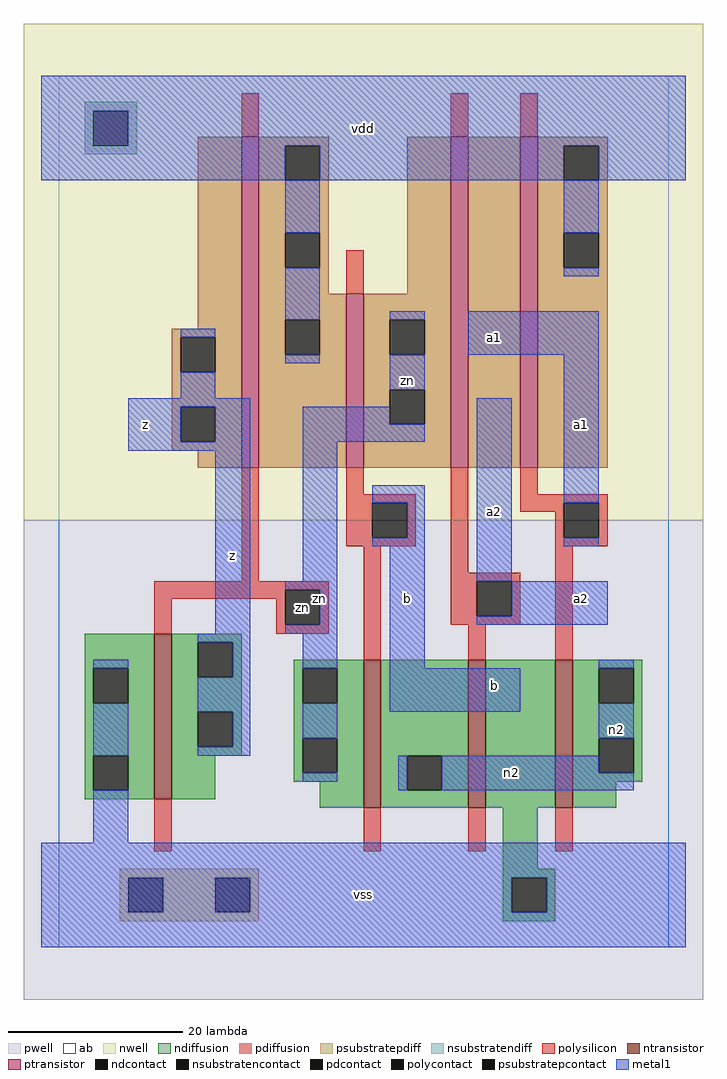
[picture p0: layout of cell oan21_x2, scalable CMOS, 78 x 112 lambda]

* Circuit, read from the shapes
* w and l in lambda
.subckt oan21_x2 a1 a2 b n2 vdd vss z zn
M1 z zn vss vss nfet w=19 l=2
M2 n2 b zn vss nfet w=17 l=2
M3 vss a2 n2 vss nfet w=17 l=2
M4 n2 a1 vss vss nfet w=17 l=2
M5 vdd zn z vdd pfet w=38 l=2
M6 zn b vdd vdd pfet w=20 l=2
M7 n1 a2 zn vdd pfet w=38 l=2
M8 vdd a1 n1 vdd pfet w=38 l=2
.ends

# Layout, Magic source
magic
tech scmos
<< ab >>
rect 0 0 70 100
<< pwell >>
rect -4 -6 74 49
<< nwell >>
rect -4 49 74 106
<< polysilicon >>
rect 21 93 23 98
rect 45 93 47 98
rect 53 93 55 98
rect 33 75 35 80
rect 21 42 23 55
rect 33 52 35 55
rect 33 51 41 52
rect 33 47 36 51
rect 40 47 41 51
rect 33 46 41 47
rect 11 41 31 42
rect 11 40 26 41
rect 11 36 13 40
rect 25 37 26 40
rect 30 37 31 41
rect 25 36 31 37
rect 35 33 37 46
rect 45 43 47 55
rect 53 52 55 55
rect 53 51 63 52
rect 53 50 58 51
rect 57 47 58 50
rect 62 47 63 51
rect 57 46 63 47
rect 45 42 53 43
rect 45 38 48 42
rect 52 38 53 42
rect 45 37 53 38
rect 47 33 49 37
rect 57 33 59 46
rect 11 11 13 17
rect 35 11 37 16
rect 47 11 49 16
rect 57 11 59 16
<< ndiffusion >>
rect 3 32 11 36
rect 3 28 4 32
rect 8 28 11 32
rect 3 22 11 28
rect 3 18 4 22
rect 8 18 11 22
rect 3 17 11 18
rect 13 35 21 36
rect 13 31 16 35
rect 20 31 21 35
rect 13 27 21 31
rect 13 23 16 27
rect 20 23 21 27
rect 13 22 21 23
rect 27 32 35 33
rect 27 28 28 32
rect 32 28 35 32
rect 27 24 35 28
rect 13 17 18 22
rect 27 20 28 24
rect 32 20 35 24
rect 27 19 35 20
rect 30 16 35 19
rect 37 22 47 33
rect 37 18 40 22
rect 44 18 47 22
rect 37 16 47 18
rect 49 16 57 33
rect 59 32 67 33
rect 59 28 62 32
rect 66 28 67 32
rect 59 24 67 28
rect 59 20 62 24
rect 66 20 67 24
rect 59 19 67 20
rect 59 16 64 19
rect 51 9 55 16
rect 51 8 57 9
rect 51 4 52 8
rect 56 4 57 8
rect 51 3 57 4
<< pdiffusion >>
rect 16 71 21 93
rect 13 70 21 71
rect 13 66 14 70
rect 18 66 21 70
rect 13 62 21 66
rect 13 58 14 62
rect 18 58 21 62
rect 13 57 21 58
rect 16 55 21 57
rect 23 92 31 93
rect 23 88 26 92
rect 30 88 31 92
rect 23 82 31 88
rect 23 78 26 82
rect 30 78 31 82
rect 23 75 31 78
rect 40 75 45 93
rect 23 72 33 75
rect 23 68 26 72
rect 30 68 33 72
rect 23 55 33 68
rect 35 72 45 75
rect 35 68 38 72
rect 42 68 45 72
rect 35 64 45 68
rect 35 60 38 64
rect 42 60 45 64
rect 35 55 45 60
rect 47 55 53 93
rect 55 92 63 93
rect 55 88 58 92
rect 62 88 63 92
rect 55 82 63 88
rect 55 78 58 82
rect 62 78 63 82
rect 55 55 63 78
<< metal1 >>
rect -2 92 72 100
rect -2 88 26 92
rect 30 88 58 92
rect 62 88 72 92
rect 26 82 30 88
rect 26 72 30 78
rect 58 82 62 88
rect 58 77 62 78
rect 14 70 18 71
rect 26 67 30 68
rect 38 72 42 73
rect 47 68 62 73
rect 14 63 18 66
rect 38 64 42 68
rect 8 62 22 63
rect 8 58 14 62
rect 18 58 22 62
rect 8 57 22 58
rect 18 36 22 57
rect 28 60 38 62
rect 28 58 42 60
rect 28 42 32 58
rect 36 51 42 53
rect 40 47 42 51
rect 36 46 42 47
rect 26 41 32 42
rect 30 37 32 41
rect 26 36 32 37
rect 16 35 22 36
rect 4 32 8 33
rect 4 22 8 28
rect 20 31 22 35
rect 16 27 22 31
rect 20 23 22 27
rect 16 22 22 23
rect 28 32 32 36
rect 28 24 32 28
rect 38 32 42 46
rect 48 42 52 63
rect 58 51 62 68
rect 58 46 62 47
rect 52 38 63 42
rect 48 37 63 38
rect 62 32 66 33
rect 38 27 53 32
rect 62 24 66 28
rect 28 19 32 20
rect 39 18 40 22
rect 44 20 62 22
rect 44 18 66 20
rect 4 12 8 18
rect -2 8 72 12
rect -2 4 52 8
rect 56 4 72 8
rect -2 0 72 4
<< ntransistor >>
rect 11 17 13 36
rect 35 16 37 33
rect 47 16 49 33
rect 57 16 59 33
<< ptransistor >>
rect 21 55 23 93
rect 33 55 35 75
rect 45 55 47 93
rect 53 55 55 93
<< polycontact >>
rect 36 47 40 51
rect 26 37 30 41
rect 58 47 62 51
rect 48 38 52 42
<< ndcontact >>
rect 4 28 8 32
rect 4 18 8 22
rect 16 31 20 35
rect 16 23 20 27
rect 28 28 32 32
rect 28 20 32 24
rect 40 18 44 22
rect 62 28 66 32
rect 62 20 66 24
rect 52 4 56 8
<< pdcontact >>
rect 14 66 18 70
rect 14 58 18 62
rect 26 88 30 92
rect 26 78 30 82
rect 26 68 30 72
rect 38 68 42 72
rect 38 60 42 64
rect 58 88 62 92
rect 58 78 62 82
<< psubstratepcontact >>
rect 8 4 12 8
rect 18 4 22 8
<< nsubstratencontact >>
rect 4 92 8 96
<< psubstratepdiff >>
rect 7 8 23 9
rect 7 4 8 8
rect 12 4 18 8
rect 22 4 23 8
rect 7 3 23 4
<< nsubstratendiff >>
rect 3 96 9 97
rect 3 92 4 96
rect 8 92 9 96
rect 3 91 9 92
<< labels >>
rlabel polycontact 28 39 28 39 6 zn
rlabel metal1 10 60 10 60 6 z
rlabel metal1 10 60 10 60 6 z
rlabel metal1 20 45 20 45 6 z
rlabel metal1 20 45 20 45 6 z
rlabel metal1 30 40 30 40 6 zn
rlabel metal1 35 6 35 6 6 vss
rlabel metal1 35 6 35 6 6 vss
rlabel metal1 50 30 50 30 6 b
rlabel metal1 40 40 40 40 6 b
rlabel metal1 40 40 40 40 6 b
rlabel metal1 50 30 50 30 6 b
rlabel metal1 50 50 50 50 6 a2
rlabel metal1 50 50 50 50 6 a2
rlabel metal1 40 65 40 65 6 zn
rlabel metal1 50 70 50 70 6 a1
rlabel metal1 50 70 50 70 6 a1
rlabel metal1 35 94 35 94 6 vdd
rlabel metal1 35 94 35 94 6 vdd
rlabel metal1 52 20 52 20 6 n2
rlabel metal1 64 25 64 25 6 n2
rlabel metal1 60 40 60 40 6 a2
rlabel metal1 60 40 60 40 6 a2
rlabel metal1 60 60 60 60 6 a1
rlabel metal1 60 60 60 60 6 a1
<< end >>
